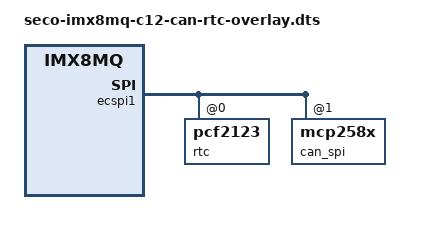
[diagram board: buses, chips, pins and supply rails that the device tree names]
/*
 * Copyright 2017 NXP
 *
 * This program is free software; you can redistribute it and/or
 * modify it under the terms of the GNU General Public License
 * as published by the Free Software Foundation; either version 2
 * of the License, or (at your option) any later version.
 *
 * This program is distributed in the hope that it will be useful,
 * but WITHOUT ANY WARRANTY; without even the implied warranty of
 * MERCHANTABILITY or FITNESS FOR A PARTICULAR PURPOSE.  See the
 * GNU General Public License for more details.
 */

/dts-v1/;
/plugin/;

/ {
	compatible = "fsl,imx8mq-evk","fsl,seco-imx8mq-c12", "fsl,imx8mq"; 

/*  __________________________________________________________________________
 * |                                                                          |
 * |                               CAN RTC	                              |
 * |__________________________________________________________________________|
 */


    	fragment@0 {
        	target = <&ecspi1>;
        	__overlay__ {

			rtc: pcf2123@0 {
				status = "okay";
			};
			
			can_spi: mcp258x@1 {
                                status = "okay";
                        };
		};
	};
};

